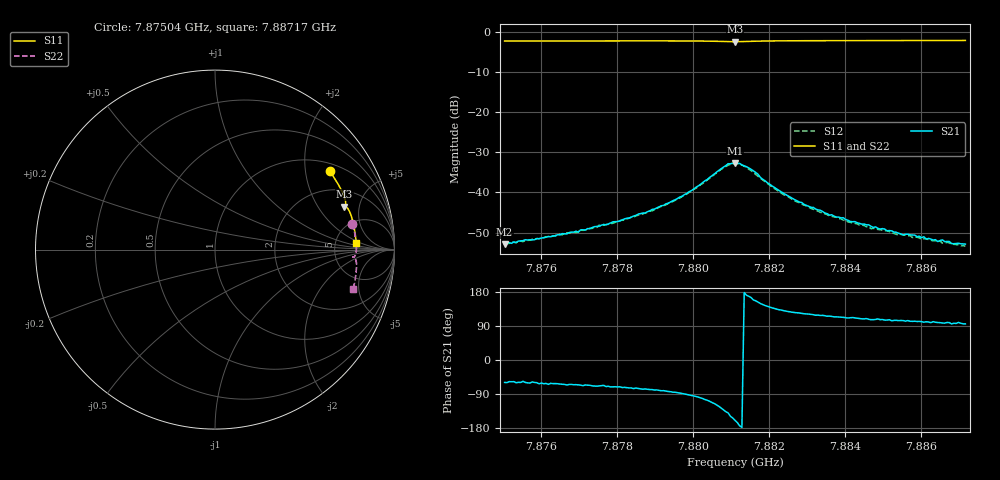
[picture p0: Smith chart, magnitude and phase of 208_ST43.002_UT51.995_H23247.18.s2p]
#  HZ  S  DB  R  50.00
! Rohde & Schwarz Vector Network Analyzer
! Rohde-Schwarz,ZNB20-2Port,1311601062101988,3.16
! Created: UTC 1/12/2023, 6:44:52 PM
! freq[Hz]  db:S11  ang:S11  db:S21  ang:S21  db:S12  ang:S12  db:S22  ang:S22
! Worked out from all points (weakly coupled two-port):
!   201 points, 7.87504 GHz to 7.88717 GHz, reference 50 ohm
!   highest |S21| = -32.71 dB at 7.88111 GHz (marker M1); lowest = -52.9 dB at 7.87504 GHz (marker M2)
!   lowest |S11| = -2.4 dB at 7.88111 GHz (marker M3), VSWR 7.33, Z = 156 + j177 ohm
!   |S11| at or under -10 dB: nowhere
!   |S22| runs from -2.3 to -1.9 dB; largest |S21 - S12| = 0.0023
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7.875043e9  -2.23 34.4  -52.89 -59.2  -52.68 -61.5  -2.17 10.6
7.875103e9  -2.23 34.2  -52.39 -59.7  -52.77 -58.9  -2.16 10.4
7.875831e9  -2.22 32.2  -51.76 -59.2  -51.69 -64.4  -2.14 8.7
7.877105e9  -2.20 28.8  -49.32 -67.8  -49.44 -69.7  -2.11 5.7
7.878197e9  -2.19 25.7  -46.60 -72.2  -46.88 -75.9  -2.08 3.1
7.879107e9  -2.18 23.2  -43.59 -80.0  -43.70 -84.1  -2.07 1.0
7.879956e9  -2.20 20.8  -39.57 -93.3  -39.71 -97.1  -2.09 -1.1
7.880926e9  -2.36 18.4  -32.82 -139.5  -33.21 -144.8  -2.25 -3.2
7.881108e9  -2.38 18.4  -32.71 -159.2  -32.79 -162.8  -2.28 -3.1
7.881472e9  -2.31 18.2  -33.88 168.1  -34.20 163.6  -2.21 -3.1
7.882321e9  -2.17 15.9  -39.86 131.9  -40.13 128.4  -2.05 -5.0
7.88317e9  -2.13 13.5  -43.73 119.6  -44.18 115.8  -2.00 -7.0
7.884141e9  -2.12 10.8  -47.23 111.6  -47.46 108.1  -1.98 -9.3
7.885172e9  -2.10 8.1  -49.50 106.3  -49.77 101.5  -1.96 -11.6
7.885536e9  -2.10 7.1  -50.58 104.0  -50.56 100.7  -1.95 -12.4
7.886082e9  -2.09 5.7  -51.04 99.8  -51.50 97.6  -1.94 -13.6
7.886142e9  -2.09 5.6  -51.65 100.9  -51.52 98.1  -1.94 -13.7
7.886446e9  -2.09 4.8  -52.24 98.9  -52.27 97.3  -1.95 -14.3
7.886506e9  -2.09 4.6  -51.99 98.6  -52.04 96.7  -1.94 -14.5
7.886567e9  -2.09 4.4  -51.82 97.7  -52.64 95.5  -1.94 -14.6
7.88681e9  -2.08 3.8  -52.74 95.2  -52.96 94.0  -1.94 -15.1
7.887174e9  -2.08 2.8  -52.88 95.4  -53.39 91.8  -1.94 -15.9
